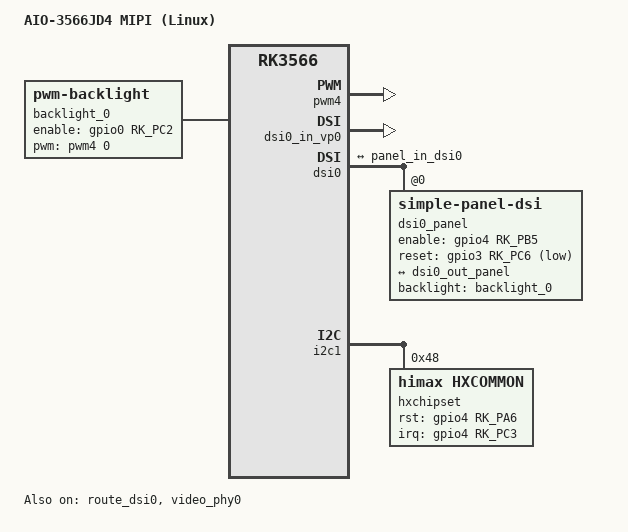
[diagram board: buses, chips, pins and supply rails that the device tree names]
// SPDX-License-Identifier: (GPL-2.0+ OR MIT)
/*
 * Copyright (c) 2020 Rockchip Electronics Co., Ltd.
 *
 */

/dts-v1/;

#include "rk3566-firefly-aiojd4.dtsi"

/*
*								select camera
*
* using single camera xc7160        --->  rk3566-firefly-aiojd4-cam-8ms1m.dtsi
* using dual camera gc2053/gc2093   --->  rk3566-firefly-aiojd4-cam-2ms2m.dtsi
*
*/
#include "rk3566-firefly-aiojd4-cam-8ms1m.dtsi"

/ {
    model = "AIO-3566JD4 MIPI (Linux)";
    compatible = "rockchip,rk3566-firefly-aiojd4", "rockchip,rk3566";

    backlight_0: backlight-0 {
        status = "okay";
        compatible = "pwm-backlight";
		enable-gpios = <&gpio0 RK_PC2 GPIO_ACTIVE_HIGH>;
        pwms = <&pwm4 0 50000 1>;
        brightness-levels = <
             60  60  60  61  61  61  62  62
             62  63  63  63  64  64  64  65
             65  65  66  66  66  67  67  67
             68  68  68  69  69  69  70  70
             70  71  71  71  72  72  72  73
             73  73  74  74  74  75  75  75
             76  76  76  77  77  77  78  78
             78  79  79  79  80  80  80  81
             81  81  82  82  82  83  83  83
             84  84  84  85  85  85  86  86
             86  87  87  87  88  88  88  89
             89  89  90  91  92  93  94  95
             96  97  98  99 100 101 102 103
            104 105 106 107 108 109 110 111
            112 113 114 115 116 117 118 119
            120 121 122 123 124 125 126 127
            128 129 130 131 132 133 134 135
            136 137 138 139 140 141 142 143
            144 145 146 147 148 149 150 151
            152 153 154 155 156 157 158 159
            160 161 162 163 164 165 166 167
            168 169 170 171 172 173 174 175
            176 177 178 179 180 181 182 183
            184 185 186 187 188 189 190 191
            192 193 194 195 196 197 198 199
            200 201 202 203 204 205 206 207
            208 209 210 211 212 213 214 215
            216 217 218 219 220 221 222 223
            224 225 226 227 228 229 230 231
            232 233 234 235 236 237 238 239
            240 241 242 243 244 245 246 247
            248 249 250 251 252 253 254 255
        >;
        default-brightness-level = <200>;
    };

    backlight_1: backlight-1 {
        status = "disabled";
        compatible = "pwm-backlight";
		enable-gpios = <&gpio0 RK_PA0 GPIO_ACTIVE_HIGH>;
        pwms = <&pwm0 0 50000 1>;
        brightness-levels = <
             60  60  60  61  61  61  62  62
             62  63  63  63  64  64  64  65
             65  65  66  66  66  67  67  67
             68  68  68  69  69  69  70  70
             70  71  71  71  72  72  72  73
             73  73  74  74  74  75  75  75
             76  76  76  77  77  77  78  78
             78  79  79  79  80  80  80  81
             81  81  82  82  82  83  83  83
             84  84  84  85  85  85  86  86
             86  87  87  87  88  88  88  89
             89  89  90  91  92  93  94  95
             96  97  98  99 100 101 102 103
            104 105 106 107 108 109 110 111
            112 113 114 115 116 117 118 119
            120 121 122 123 124 125 126 127
            128 129 130 131 132 133 134 135
            136 137 138 139 140 141 142 143
            144 145 146 147 148 149 150 151
            152 153 154 155 156 157 158 159
            160 161 162 163 164 165 166 167
            168 169 170 171 172 173 174 175
            176 177 178 179 180 181 182 183
            184 185 186 187 188 189 190 191
            192 193 194 195 196 197 198 199
            200 201 202 203 204 205 206 207
            208 209 210 211 212 213 214 215
            216 217 218 219 220 221 222 223
            224 225 226 227 228 229 230 231
            232 233 234 235 236 237 238 239
            240 241 242 243 244 245 246 247
            248 249 250 251 252 253 254 255
        >;
        default-brightness-level = <200>;
    };

};

&pwm4 {
	status = "okay";
};

&pwm0 {
	status = "disabled";
	pinctrl-0 = <&pwm0m1_pins>;
};

&route_dsi0 {
    status = "okay";
    connect = <&vp0_out_dsi0>;
};

&video_phy0 {
    status = "okay";
};

&dsi0_in_vp0 {
    status = "okay";
};

&dsi0_in_vp1 {
    status = "disabled";
};

&route_dsi1 {
    status = "disabled";
    connect = <&vp1_out_dsi1>;
};

&video_phy1 {
    status = "disabled";
};

&dsi1_in_vp0 {
    status = "disabled";
};

&dsi1_in_vp1 {
    status = "disabled";
};

&hdmi {
	status = "disabled";
};

&hdmi_in_vp0 {
	status = "disabled";
};

&hdmi_in_vp1 {
	status = "disabled";
};

&hdmi_sound {
	status = "disabled";
};

/*
 * mipi_dphy0 needs to be enabled
 * when dsi0 is enabled
 */
&dsi0 {
    status = "okay";
    //rockchip,lane-rate = <1000>;
    dsi0_panel: panel@0 {
        status = "okay";
        compatible = "simple-panel-dsi";
        reg = <0>;
        backlight = <&backlight_0>;

        enable-gpios = <&gpio4 RK_PB5 GPIO_ACTIVE_HIGH>;
	    reset-gpios = <&gpio3 RK_PC6 GPIO_ACTIVE_LOW>;

        enable-delay-ms = <35>;
        prepare-delay-ms = <6>;
        reset-delay-ms = <25>;
        init-delay-ms = <55>;
        unprepare-delay-ms = <0>;
        disable-delay-ms = <20>;
        mipi-data-delay-ms = <200>;
        size,width = <120>;
        size,height = <170>;
        dsi,flags = <(MIPI_DSI_MODE_VIDEO | MIPI_DSI_MODE_VIDEO_BURST | MIPI_DSI_MODE_LPM | MIPI_DSI_MODE_EOT_PACKET)>;
        dsi,format = <MIPI_DSI_FMT_RGB888>;
        dsi,lanes  = <4>;

        panel-init-sequence = [
            //39 00 04 B9 83 10 2E
            // 15 00 02 CF FF
            05 78 01 11
            05 32 01 29
            //15 00 02 35 00
        ];

        panel-exit-sequence = [
            05 00 01 28
            05 00 01 10
        ];

        disp_timings0: display-timings {
            native-mode = <&dsi0_timing0>;
            dsi0_timing0: timing0 {
                clock-frequency = <72600000>;//<80000000>;
                hactive = <800>;//<768>;
                vactive = <1280>;
                hsync-len = <14>;   //20, 50,10
                hback-porch = <26>; //50, 56,10
                hfront-porch = <32>;//50, 30,180
	            vsync-len = <8>;//4
	            vback-porch = <20>;//4
	            vfront-porch = <80>;//8
	            hsync-active = <0>;
	            vsync-active = <0>;
	            de-active = <0>;
                pixelclk-active = <0>;
            };
        };

        ports {
            #address-cells = <1>;
            #size-cells = <0>;

            port@0 {
                reg = <0>;
                panel_in_dsi0: endpoint {
                    remote-endpoint = <&dsi0_out_panel>;
                };
            };
        };
	};

    ports {
        #address-cells = <1>;
        #size-cells = <0>;

        port@1 {
            reg = <1>;
            dsi0_out_panel: endpoint {
                remote-endpoint = <&panel_in_dsi0>;
            };
        };
	};
};

/*
 * mipi_dphy1 needs to be enabled
 * when dsi1 is enabled
 */
&dsi1 {
    status = "disabled";
    //rockchip,lane-rate = <1000>;
    dsi1_panel: panel@0 {
        status = "okay";
        compatible = "simple-panel-dsi";
        reg = <0>;
        backlight = <&backlight_1>;

        enable-gpios = <&gpio0 RK_PA6 GPIO_ACTIVE_HIGH>;
	    reset-gpios = <&gpio3 RK_PD3 GPIO_ACTIVE_LOW>;

        enable-delay-ms = <35>;
        prepare-delay-ms = <6>;
        reset-delay-ms = <25>;
        init-delay-ms = <55>;
        unprepare-delay-ms = <0>;
        disable-delay-ms = <20>;
        mipi-data-delay-ms = <200>;
        size,width = <120>;
        size,height = <170>;
        dsi,flags = <(MIPI_DSI_MODE_VIDEO | MIPI_DSI_MODE_VIDEO_BURST | MIPI_DSI_MODE_LPM | MIPI_DSI_MODE_EOT_PACKET)>;
        dsi,format = <MIPI_DSI_FMT_RGB888>;
        dsi,lanes  = <4>;

        panel-init-sequence = [
            //39 00 04 B9 83 10 2E
            // 15 00 02 CF FF
            05 78 01 11
            05 32 01 29
            //15 00 02 35 00
        ];

        panel-exit-sequence = [
            05 00 01 28
            05 00 01 10
        ];

        disp_timings1: display-timings {
            native-mode = <&dsi1_timing0>;
            dsi1_timing0: timing0 {
                clock-frequency = <72600000>;//<80000000>;
                hactive = <800>;//<768>;
                vactive = <1280>;
                hsync-len = <14>;   //20, 50,10
                hback-porch = <26>; //50, 56,10
                hfront-porch = <32>;//50, 30,180
	            vsync-len = <8>;//4
	            vback-porch = <20>;//4
	            vfront-porch = <80>;//8
	            hsync-active = <0>;
	            vsync-active = <0>;
	            de-active = <0>;
                pixelclk-active = <0>;
            };
        };

        ports {
            #address-cells = <1>;
            #size-cells = <0>;

            port@0 {
                reg = <0>;
                panel_in_dsi1: endpoint {
                    remote-endpoint = <&dsi1_out_panel>;
                };
            };
        };
	};

    ports {
        #address-cells = <1>;
        #size-cells = <0>;

        port@1 {
            reg = <1>;
            dsi1_out_panel: endpoint {
                remote-endpoint = <&panel_in_dsi1>;
            };
        };
	};
};

&i2c1 {
	status = "okay";
    hxchipset@48{
        status = "okay";
        compatible = "himax,hxcommon";
        reg = <0x48>;

        himax,rst-gpio = <&gpio4 RK_PA6 GPIO_ACTIVE_HIGH>;
        himax,irq-gpio = <&gpio4 RK_PC3 IRQ_TYPE_LEVEL_LOW>;
        //himax,3v3-gpio = <&gpio0 RK_PB4 GPIO_ACTIVE_HIGH>;
        //himax,pon-gpio = <&gpio0 RK_PB4 GPIO_ACTIVE_HIGH>;

        himax,panel-coords = <0 800 0 1280>;      //触摸范围
        himax,display-coords = <0 800 0 1280>;    //分辨率
        report_type = <1>;
    };
};

&i2c2 {
    hxchipset@48{
        status = "disabled";
        compatible = "himax,hxcommon";
        reg = <0x48>;

        himax,rst-gpio = <&gpio3 RK_PC7 GPIO_ACTIVE_HIGH>;
        himax,irq-gpio = <&gpio0 RK_PA5 IRQ_TYPE_LEVEL_LOW>;
        //himax,3v3-gpio = <&gpio0 RK_PB4 GPIO_ACTIVE_HIGH>;
        //himax,pon-gpio = <&gpio0 RK_PB4 GPIO_ACTIVE_HIGH>;

        himax,panel-coords = <0 800 0 1280>;      //触摸范围
        himax,display-coords = <0 800 0 1280>;    //分辨率
        report_type = <1>;
    };
};
